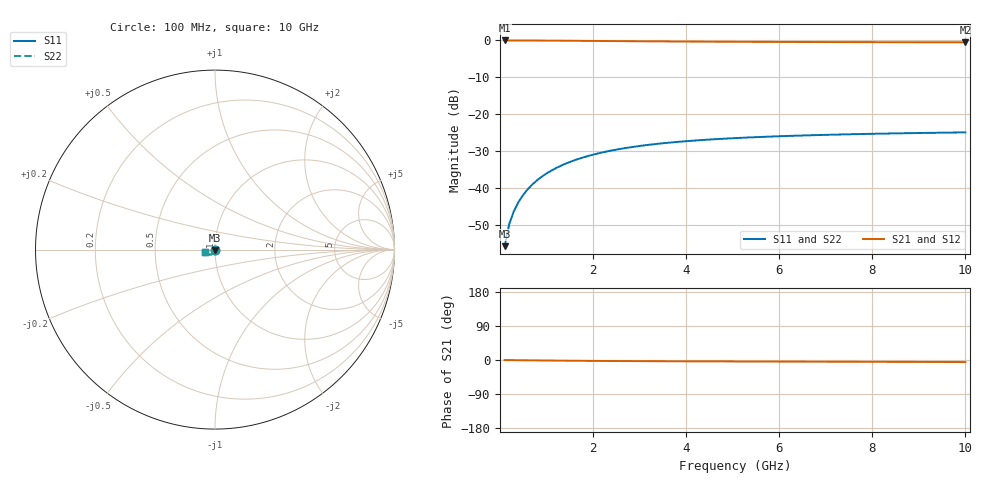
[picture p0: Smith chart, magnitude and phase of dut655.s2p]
! Touchstone file exported from HFSS 2024.1.0
!  File:  C:/UserFiles/LocalFiles/RDL_TSV_Batchsim/temp_TSV1_655_1779792480.aedt
!  Generated:  06:54:36 PM May 26, 2026
!  Design:  TSV1
!  Project:  temp_TSV1_655_1779792480
!  Setup:  Setup1
!  Solution:  Sweep
! Variables:
!  dtsv = 12.75um
!  hbump = 3um
!  htsv = 83.25um
!  lrdl = 252.1521522um
!  p = 40
!  p1 = 50.73um
!  t = 500um
!  trdl = 3um
!  wrdl = 24.89489489um
# GHz S MA R 50.000000
! Terminal data exported
! Port[1] = TSV22_T1
! Port[2] = TSV22_T2
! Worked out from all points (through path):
!   100 points, 100 MHz to 10 GHz, reference 50 ohm
!   highest |S21| = 0.00 dB at 100 MHz (marker M1); lowest = -0.5 dB at 10 GHz (marker M2)
!   lowest |S11| = -55.8 dB at 100 MHz (marker M3), VSWR 1.00, Z = 50 - j0.163 ohm
!   |S11| at or under -10 dB: start of sweep to end of sweep
!   |S22| runs from -55.8 to -24.9 dB; largest |S21 - S12| = 4.2e-15
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0.1  0.001626 -88.4  0.9999 -0.1  0.9999 -0.1  0.001626 -88.4
! Gamma 0 0 0 0
! Port Impedance 50 0 50 0
0.2  0.003248 -91.7  0.9997 -0.3  0.9997 -0.3  0.003248 -91.7
0.3  0.004868 -93.9  0.9994 -0.4  0.9994 -0.4  0.004868 -93.9
0.4  0.006481 -95.8  0.9991 -0.6  0.9991 -0.6  0.006481 -95.8
0.5  0.00808 -97.7  0.9986 -0.7  0.9986 -0.7  0.00808 -97.7
0.6  0.009661 -99.5  0.9981 -0.8  0.9981 -0.8  0.009661 -99.5
0.7  0.01122 -101.3  0.9975 -1.0  0.9975 -1.0  0.01122 -101.3
0.8  0.01275 -103.1  0.9968 -1.1  0.9968 -1.1  0.01275 -103.1
0.9  0.01425 -104.8  0.9961 -1.2  0.9961 -1.2  0.01425 -104.8
1.1  0.01715 -108.1  0.9944 -1.5  0.9944 -1.5  0.01715 -108.1
1.4  0.02122 -112.8  0.9916 -1.8  0.9916 -1.8  0.02122 -112.8
1.6  0.02374 -115.8  0.9895 -2.0  0.9895 -2.0  0.02374 -115.8
1.8  0.02609 -118.6  0.9874 -2.2  0.9874 -2.2  0.02609 -118.6
2.1  0.02933 -122.6  0.9842 -2.4  0.9842 -2.4  0.02933 -122.6
2.5  0.03311 -127.4  0.9799 -2.7  0.9799 -2.7  0.03311 -127.4
2.9  0.03636 -131.7  0.9759 -2.9  0.9759 -2.9  0.03636 -131.7
3.4  0.03976 -136.5  0.9713 -3.2  0.9713 -3.2  0.03976 -136.5
4.2  0.04403 -143.0  0.965 -3.5  0.965 -3.5  0.04403 -143.0
5.1  0.04759 -149.0  0.9594 -3.9  0.9594 -3.9  0.04759 -149.0
6.7  0.0519 -157.3  0.9521 -4.4  0.9521 -4.4  0.0519 -157.3
8.4  0.05483 -164.1  0.947 -4.9  0.947 -4.9  0.05483 -164.1
10  0.05673 -169.2  0.9437 -5.4  0.9437 -5.4  0.05673 -169.2
